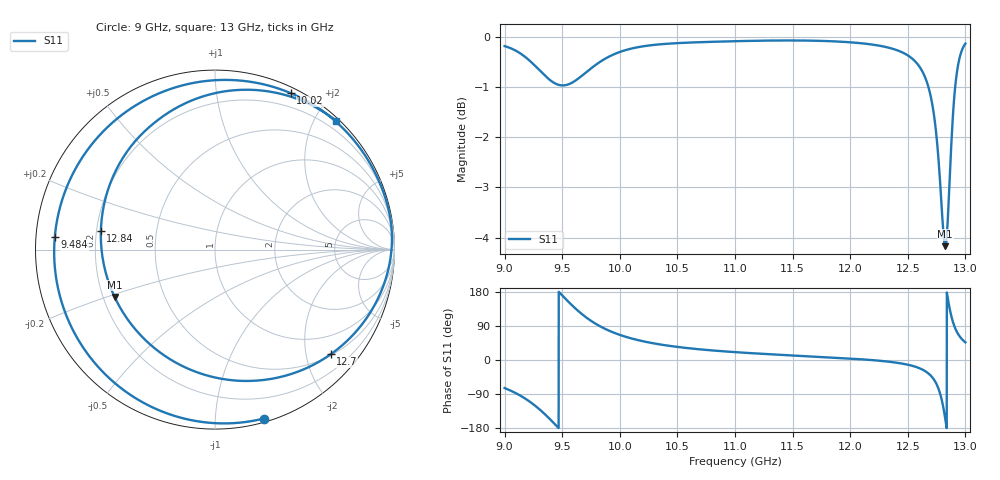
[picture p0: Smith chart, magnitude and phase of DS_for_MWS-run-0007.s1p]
! TOUCHSTONE file generated by CST DESIGN STUDIO
! Date and time: Tue Feb  4 16:27:48 2025
! Project name: C:\Work\MatlabApps\UnitCellOptimizationMatlab\CST\unitcell.cst
! Tree item: Tasks\Sweep1\SPara1\S-Parameters
! Header version: 2024
! Port assignment regex: !\s*Touchstone port\s*([0-9]+)\s*=\s*(CST MWS port|CST DES external port|CST DES block port)\s*(.+)\s* \(\"(.*)\"\)(\s*mode\s*([0-9]+))?.*
! Touchstone port assignment:
! Touchstone port 1 = CST DES external port 1 ("")
# GHz S MA R 50
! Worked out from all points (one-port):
!   4001 points, 9 GHz to 13 GHz, reference 50 ohm
!   lowest |S11| = -4.2 dB at 12.82 GHz (marker M1), VSWR 4.24, Z = 12.3 - j10.6 ohm
!   |S11| at or under -10 dB: nowhere
!   S11 on the Smith chart (normalised r, x): 9 GHz: 0.03, -1.33; 9.484 GHz: 0.06, +0.04; 10.02 GHz: 0.06, +1.59; 12.7 GHz: 0.52, -2.51; 12.84 GHz: 0.22, +0.08; 13 GHz: 0.05, +2.32
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9  0.9796 -74.0
9.147  0.9614 -95.9
9.258  0.9378 -119.0
9.386  0.9076 -153.7
9.484  0.8954 175.5
9.5  0.895 170.4
9.611  0.9043 137.0
9.715  0.9238 110.9
9.834  0.9457 88.1
10  0.9665 66.3
10.021  0.9683 64.1
10.228  0.9801 47.8
10.5  0.9863 34.5
11  0.9907 20.8
11.5  0.9923 12.0
12  0.9882 3.8
12.5  0.9589 -12.4
12.625  0.9249 -25.0
12.702  0.8696 -42.1
12.743  0.8087 -59.7
12.779  0.7209 -87.0
12.802  0.6545 -115.3
12.825  0.6186 -154.7
12.843  0.6444 170.7
12.873  0.7626 122.2
12.901  0.8649 92.0
12.947  0.9508 63.7
13  0.9853 46.7
